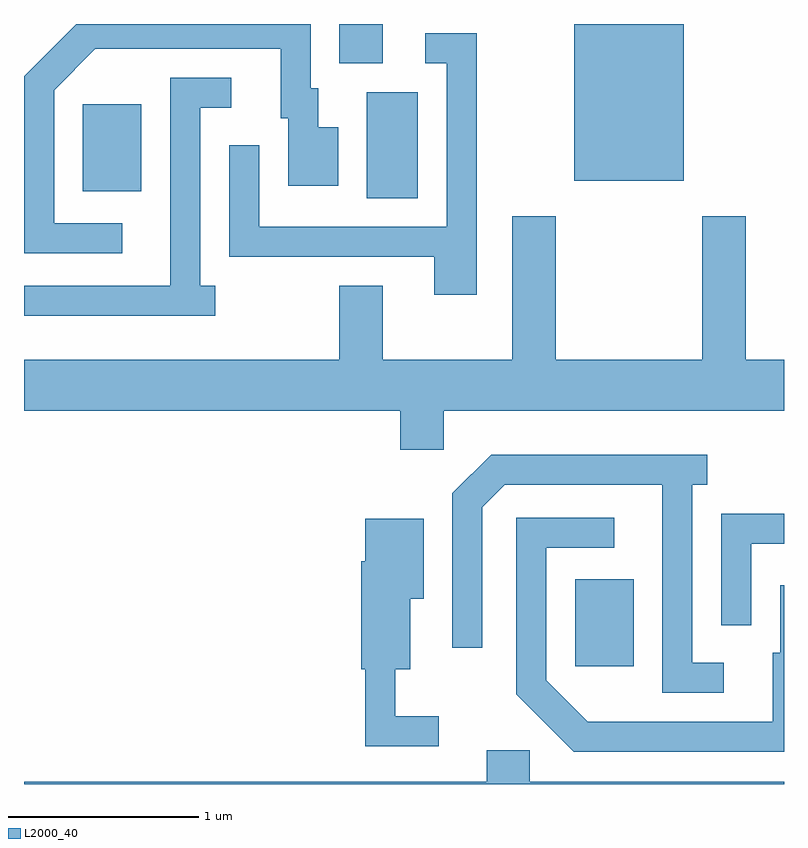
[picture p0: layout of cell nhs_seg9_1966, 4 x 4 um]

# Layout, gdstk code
import gdstk
lib = gdstk.Library(unit=1e-6, precision=1e-09)
def R(c, l, rs):  # rectangles x0, y0, x1, y1
    for r in rs: c.add(gdstk.rectangle(r[:2], r[2:], *l))
def P(c, l, *ps):  # polygons
    for p in ps: c.add(gdstk.Polygon(p, *l))
L2000_40 = (2000, 40)

nhs_seg9_1966 = lib.new_cell('nhs_seg9_1966')
R(nhs_seg9_1966, L2000_40, [(244.511,2077.051,244.819,2077.509), (243.416,2079.516,243.684,2080.074), (241.921,2079.551,242.229,2080.009), (244.506,2079.606,245.084,2080.432), (243.271,2080.226,243.499,2080.432)])
P(nhs_seg9_1966, L2000_40, [(242.128,2079.384),(241.769,2079.384),(241.769,2080.084),(241.987,2080.301),(242.961,2080.301),(242.961,2079.936),(243.001,2079.936),(243.001,2079.581),(243.264,2079.581),(243.264,2079.889),(243.159,2079.889),(243.159,2080.094),(243.119,2080.094),(243.119,2080.432),(241.887,2080.432),(241.611,2080.157),(241.611,2079.226),(242.128,2079.226)],
  [(243.994,2080.384),(243.723,2080.384),(243.723,2080.226),(243.836,2080.226),(243.836,2079.364),(242.849,2079.364),(242.849,2079.793),(242.691,2079.793),(242.691,2079.206),(243.771,2079.206),(243.771,2079.006),(243.994,2079.006)],
  [(242.618,2079.054),(242.539,2079.054),(242.539,2079.991),(242.703,2079.991),(242.703,2080.149),(242.381,2080.149),(242.381,2079.054),(241.611,2079.054),(241.611,2078.896),(242.618,2078.896)],
  [(243.819,2078.396),(245.611,2078.396),(245.611,2078.664),(245.409,2078.664),(245.409,2079.419),(245.181,2079.419),(245.181,2078.664),(244.409,2078.664),(244.409,2079.419),(244.181,2079.419),(244.181,2078.664),(243.499,2078.664),(243.499,2079.054),(243.271,2079.054),(243.271,2078.664),(241.611,2078.664),(241.611,2078.396),(243.591,2078.396),(243.591,2078.191),(243.819,2078.191)],
  [(245.293,2077.069),(245.129,2077.069),(245.129,2078.006),(245.208,2078.006),(245.208,2078.164),(244.069,2078.164),(243.866,2077.962),(243.866,2077.148),(244.024,2077.148),(244.024,2077.889),(244.142,2078.006),(244.971,2078.006),(244.971,2076.911),(245.293,2076.911)],
  [(245.439,2077.696),(245.611,2077.696),(245.611,2077.854),(245.281,2077.854),(245.281,2077.268),(245.439,2077.268)],
  [(245.611,2077.479),(245.591,2077.479),(245.591,2077.124),(245.551,2077.124),(245.551,2076.759),(244.577,2076.759),(244.359,2076.977),(244.359,2077.676),(244.718,2077.676),(244.718,2077.834),(244.201,2077.834),(244.201,2076.904),(244.504,2076.601),(245.611,2076.601)],
  [(243.793,2076.789),(243.564,2076.789),(243.564,2077.036),(243.644,2077.036),(243.644,2077.406),(243.714,2077.406),(243.714,2077.829),(243.406,2077.829),(243.406,2077.604),(243.386,2077.604),(243.386,2077.036),(243.406,2077.036),(243.406,2076.631),(243.793,2076.631)],
  [(245.611,2076.444),(244.274,2076.444),(244.274,2076.609),(244.046,2076.609),(244.046,2076.444),(241.611,2076.444),(241.611,2076.432),(245.611,2076.432)])

lib.write_gds('nhs_seg9_1966.gds')
